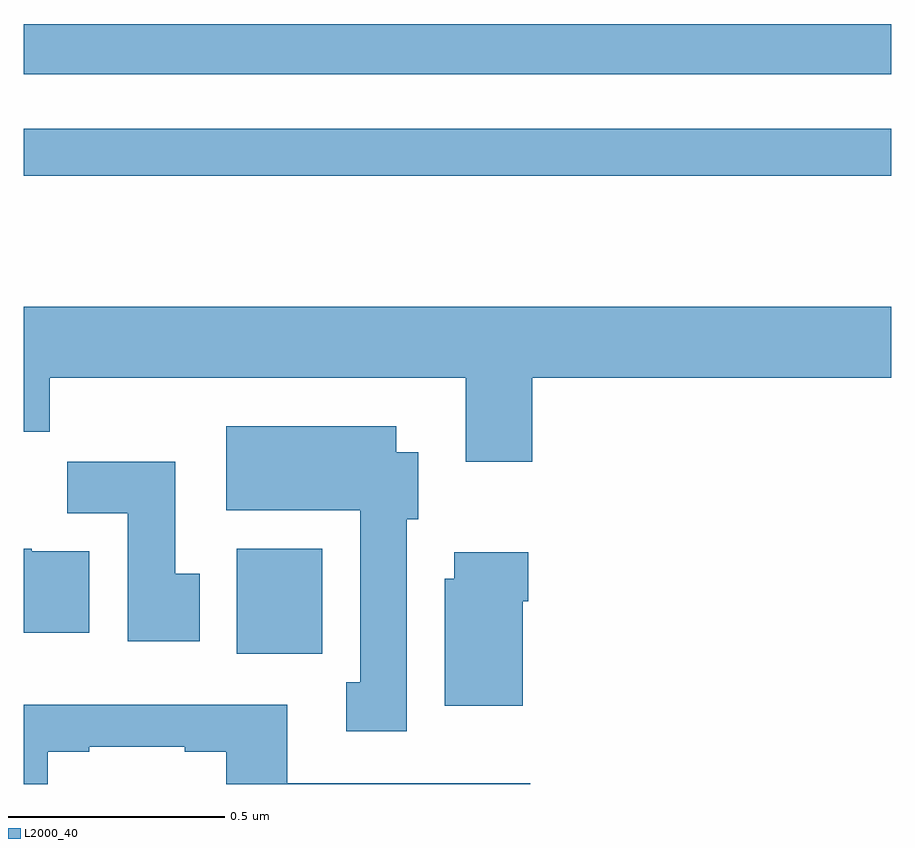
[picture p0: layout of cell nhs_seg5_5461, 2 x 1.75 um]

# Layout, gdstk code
import gdstk
lib = gdstk.Library(unit=1e-6, precision=1e-09)
def R(c, l, rs):  # rectangles x0, y0, x1, y1
    for r in rs: c.add(gdstk.rectangle(r[:2], r[2:], *l))
def P(c, l, *ps):  # polygons
    for p in ps: c.add(gdstk.Polygon(p, *l))
L2000_40 = (2000, 40)

nhs_seg5_5461 = lib.new_cell('nhs_seg5_5461')
R(nhs_seg5_5461, L2000_40, [(183.491,880.1,183.688,880.342), (183,881.202,185,881.31), (183,881.436,185,881.552)])
P(nhs_seg5_5461, L2000_40, [(184.172,880.736),(185,880.736),(185,880.9),(183,880.9),(183,880.612),(183.059,880.612),(183.059,880.736),(184.019,880.736),(184.019,880.542),(184.172,880.542)],
  [(183.883,880.41),(183.91,880.41),(183.91,880.564),(183.859,880.564),(183.859,880.624),(183.467,880.624),(183.467,880.43),(183.776,880.43),(183.776,880.034),(183.743,880.034),(183.743,879.921),(183.883,879.921)],
  [(183.406,880.284),(183.349,880.284),(183.349,880.542),(183.1,880.542),(183.1,880.424),(183.239,880.424),(183.239,880.128),(183.406,880.128)],
  [(183.151,880.336),(183.018,880.336),(183.018,880.342),(183,880.342),(183,880.148),(183.151,880.148)],
  [(184.15,880.22),(184.163,880.22),(184.163,880.333),(183.992,880.333),(183.992,880.272),(183.971,880.272),(183.971,879.98),(184.15,879.98)],
  [(183.055,879.873),(183.151,879.873),(183.151,879.885),(183.371,879.885),(183.371,879.873),(183.467,879.873),(183.467,879.799),(184.168,879.799),(184.168,879.801),(183.607,879.801),(183.607,879.982),(183,879.982),(183,879.799),(183.055,879.799)])

lib.write_gds('nhs_seg5_5461.gds')
